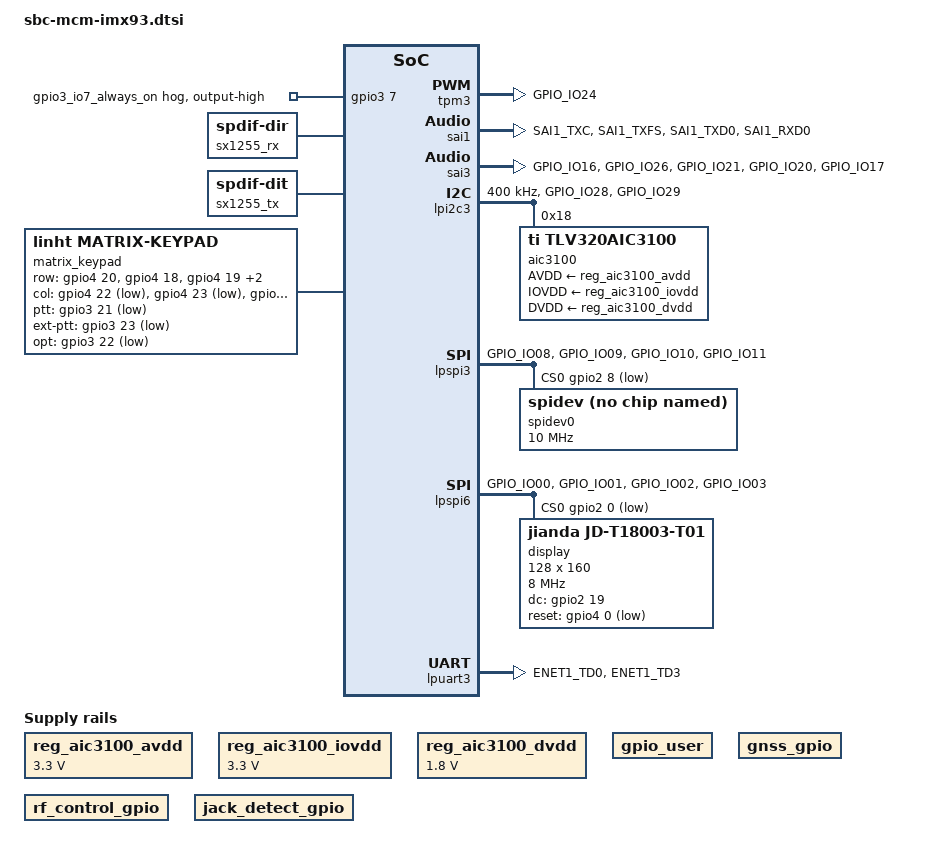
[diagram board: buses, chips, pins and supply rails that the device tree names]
&iomuxc {
	pinctrl_i2s0: sai1grp {
		fsl,pins = <
			MX93_PAD_SAI1_TXC__SAI1_TX_BCLK			0x31e
			MX93_PAD_SAI1_TXFS__SAI1_TX_SYNC		0x31e
			MX93_PAD_SAI1_TXD0__SAI1_TX_DATA00		0x31e
			MX93_PAD_SAI1_RXD0__SAI1_RX_DATA00		0x31e
		>;
	};
    pinctrl_i2s1: sai3grp {
		fsl,pins = <
			MX93_PAD_GPIO_IO16__SAI3_TX_BCLK		0x31e
			MX93_PAD_GPIO_IO26__SAI3_TX_SYNC		0x31e
			MX93_PAD_GPIO_IO21__SAI3_TX_DATA00		0x31e
			MX93_PAD_GPIO_IO20__SAI3_RX_DATA00		0x31e
            MX93_PAD_GPIO_IO17__SAI3_MCLK           0x31e
		>;
    };
    pinctrl_spi0: lpspi3grp {
		fsl,pins = <
			MX93_PAD_GPIO_IO08__GPIO2_IO08		0x3fe
			MX93_PAD_GPIO_IO09__LPSPI3_SIN		0x3fe
			MX93_PAD_GPIO_IO10__LPSPI3_SOUT		0x3fe
			MX93_PAD_GPIO_IO11__LPSPI3_SCK		0x3fe
		>;
	};
    pinctrl_spi1: lpspi6grp {
		fsl,pins = <
			MX93_PAD_GPIO_IO00__GPIO2_IO00		0x3fe
			MX93_PAD_GPIO_IO01__LPSPI6_SIN		0x3fe
			MX93_PAD_GPIO_IO02__LPSPI6_SOUT		0x3fe
			MX93_PAD_GPIO_IO03__LPSPI6_SCK		0x3fe
		>;
	};
    // Add I2C3 pin configuration
    pinctrl_lpi2c3: lpi2c3grp {
        fsl,pins = <
            MX93_PAD_GPIO_IO28__LPI2C3_SDA          0x40000bde
            MX93_PAD_GPIO_IO29__LPI2C3_SCL          0x40000bde
        >;
    };

    // GPIOS
    pinctrl_gpio_user: gpio_usergrp {
        fsl,pins = <
            MX93_PAD_SD2_DATA3__GPIO3_IO06      0x31e /* MIC_GAIN */
            MX93_PAD_SD2_DATA2__GPIO3_IO05      0x31e /* /MIC_MUTE */
            MX93_PAD_GPIO_IO04__GPIO2_IO04      0x31e /* 125 - LED 1 */
            MX93_PAD_GPIO_IO05__GPIO2_IO05      0x31e /* 125 - LED 2 */
            MX93_PAD_GPIO_IO22__GPIO2_IO22      0x31e /* RF_RST */
            MX93_PAD_GPIO_IO25__GPIO2_IO25      0x31e /* 95 - KBD_PWM */
            // Removed PTT and OPT pins from here
        >;
    };

    pinctrl_keypad_extras: gpio_kpdextragrp {
        fsl,pins = <
            MX93_PAD_SD3_DATA1__GPIO3_IO23      0x31e /* EXT_PTT */
            MX93_PAD_SD3_CMD__GPIO3_IO21        0x31e /* INT_PTT */
            MX93_PAD_SD3_DATA0__GPIO3_IO22      0x31e /* SIDE_BTN */
        >;
    };


    pinctrl_keypad_rows: gpio_kpdrowgrp {
        fsl,pins = <
            MX93_PAD_ENET2_TX_CTL__GPIO4_IO20   0x31e /* D4 - Row 0 */
            MX93_PAD_ENET2_TD1__GPIO4_IO18      0x31e /* D3 - Row 1 */
            MX93_PAD_ENET2_TD0__GPIO4_IO19      0x31e /* D2 - Row 2 */
            MX93_PAD_ENET2_TD3__GPIO4_IO16      0x31e /* D1 - Row 3 */
            MX93_PAD_ENET2_RD0__GPIO4_IO24      0x31e /* D9 - Row 4 */
        >;
    };

    pinctrl_keypad_cols: gpio_kpdcolgrp {
        fsl,pins = <
            MX93_PAD_ENET2_RX_CTL__GPIO4_IO22   0x31e /* D8 - Col 0 */
            MX93_PAD_ENET2_RXC__GPIO4_IO23      0x31e /* D7 - Col 1 */
            MX93_PAD_ENET2_TXC__GPIO4_IO21      0x31e /* D6 - Col 2 */
            MX93_PAD_ENET2_TD2__GPIO4_IO17      0x31e /* D5 - Col 3 */
        >;
    };

    // Pin config (if you want a dedicated group):
    pinctrl_flashlight: flashlightgrp {
        fsl,pins = <
            MX93_PAD_GPIO_IO18__GPIO2_IO18      0x184 /* 118 - FLASHLIGHT */
        >;
    };

    // PWM Pins
    pinctrl_tpm3: tpm3grp {
        fsl,pins = <
            MX93_PAD_GPIO_IO24__TPM3_CH3 0x31e /* LCD_PWM - Pin 99 */
        >;
    };

    // GNSS GPIOs (only RST, WAKEUP, PPS)
    pinctrl_gnss: gnssgrp {
        fsl,pins = <
            MX93_PAD_ENET1_TD2__GPIO4_IO03      0x31e /* Pin 83 - GNSS_RST */
            MX93_PAD_ENET1_TD3__GPIO4_IO02      0x31e /* Pin 85 - GNSS_WAKEUP */
            MX93_PAD_ENET1_RX_CTL__GPIO4_IO08   0x31e /* Pin 87 - GNSS_PPS */
        >;
    };

    // UART3 for GNSS (TX/RX)
    pinctrl_uart3: uart3grp {
        fsl,pins = <
            MX93_PAD_ENET1_TD0__GPIO4_IO05        0x31e /* Pin 84 - GNSS_TX */
            MX93_PAD_ENET1_TD3__GPIO4_IO02        0x31e /* Pin 88 - GNSS_RX */
        >;
    };

    // RF Control GPIOs
    pinctrl_rf_control: rf_controlgrp {
        fsl,pins = <
            MX93_PAD_GPIO_IO15__GPIO2_IO15      0x31e /* Pin 103 - RF_SW_CTRL */
            MX93_PAD_GPIO_IO13__GPIO2_IO13      0x31e /* Pin 104 - RF_ATT_LE2 */
            MX93_PAD_GPIO_IO12__GPIO2_IO12      0x31e /* Pin 105 - RF_ATT_LE1 */
            MX93_PAD_GPIO_IO07__GPIO2_IO07      0x31e /* Pin 106 - RF_ATT_CLK */
            MX93_PAD_GPIO_IO06__GPIO2_IO06      0x31e /* Pin 107 - RF_ATT_DATA */
            MX93_PAD_SD3_DATA3__GPIO3_IO25      0x31e /* Pin 111 - RF_PA_ENABLE */
        >;
    };

    // Jack Detection
    pinctrl_jack_detect: jack_detectgrp {
        fsl,pins = <
            MX93_PAD_ENET2_MDIO__GPIO4_IO15     0x31e /* Pin 49 - JACK_DETECT */
        >;
    };

    // 3.3V regulator
    pinctrl_gpio3_io7: gpio3io7grp {
        fsl,pins = <
            MX93_PAD_SD2_RESET_B__GPIO3_IO07    0x31e
        >;
    };
};

// Disable the sdcard power regulator so we can activate him from linux
&reg_usdhc2_vmmc {
    status = "disabled";
    gpio = <0>;
};

&usdhc2 {
    status = "disabled";
};

&usdhc3 {
    status = "disabled";
};

// 3.3V Regulator
&gpio3 {
    pinctrl-names = "default";
    pinctrl-0 = <&pinctrl_gpio3_io7>;
    
    gpio3_io7_hog {
        gpio-hog;
        gpios = <7 GPIO_ACTIVE_HIGH>;
        output-high;
        line-name = "gpio3_io7_always_on";
    };
};

// PWM
&tpm3 {
    pinctrl-names = "default";
    pinctrl-0 = <&pinctrl_tpm3>;
    status = "okay";
};

// I2S0 - SX1255
&sai1 {
	#sound-dai-cells = <0>;
	pinctrl-names = "default";
	pinctrl-0 = <&pinctrl_i2s0>;
	status = "okay";
};

// I2S1 - WM8960
&sai3 {
    #sound-dai-cells = <0>;
    pinctrl-names = "default";
    pinctrl-0 = <&pinctrl_i2s1>;
    assigned-clocks = <&clk IMX93_CLK_SAI3>;
    assigned-clock-parents = <&clk IMX93_CLK_AUDIO_PLL>;
    assigned-clock-rates = <12288000>;
    fsl,sai-mclk-direction-output;
    status = "okay";
};

// I2C - TLV320AIC3100
&lpi2c3 {
    #address-cells = <1>;
    #size-cells = <0>;
    clock-frequency = <400000>;
    pinctrl-names = "default", "sleep";
    pinctrl-0 = <&pinctrl_lpi2c3>;
    pinctrl-1 = <&pinctrl_lpi2c3>;
    status = "okay";

    aic3100: aic3100@18 {
        compatible = "ti,tlv320aic3100";
        reg = <0x18>;
        #sound-dai-cells = <0>;

        AVDD-supply = <&reg_aic3100_avdd>;
        IOVDD-supply = <&reg_aic3100_iovdd>;
        DVDD-supply = <&reg_aic3100_dvdd>;

        // Optional: if you use headphone/speaker supplies
        // HPVDD-supply = <&reg_aic3100_hpvdd>;
        // SPLVDD-supply = <&reg_aic3100_splvdd>;
        // SPRVDD-supply = <&reg_aic3100_sprvdd>;

        clocks = <&clk IMX93_CLK_SAI3>;
        clock-names = "mclk";
    };
};

// SPI0 - SX1255
&lpspi3 {
	fsl,spi-num-chipselects = <1>;
	pinctrl-names = "default", "sleep";
	pinctrl-0 = <&pinctrl_spi0>;
	pinctrl-1 = <&pinctrl_spi0>;
	cs-gpios = <&gpio2 8 GPIO_ACTIVE_LOW>;
	dmas = <&edma2 12 0 0>, <&edma2 13 0 1>;
	dma-names = "tx", "rx";
	status = "okay";

	spidev0: spi@0 {
		reg = <0>;
		compatible = "rohm,dh2228fv";
		spi-max-frequency = <10000000>;
	};
};

// SPI1 - st7735r
&lpspi6 {
    status = "okay";
    fsl,spi-num-chipselects = <1>;
    pinctrl-names = "default", "sleep";
    pinctrl-0 = <&pinctrl_spi1>;
    pinctrl-1 = <&pinctrl_spi1>;
    cs-gpios = <&gpio2 0 GPIO_ACTIVE_LOW>;
	dmas = <0>, <0>;
	dma-names = "tx", "rx";

    display@0 {
        compatible = "jianda,jd-t18003-t01", "sitronix,st7735r";
        reg = <0>;
        spi-max-frequency = <8000000>;
        dc-gpios = <&gpio2 19 GPIO_ACTIVE_HIGH>;
        reset-gpios = <&gpio4 0 GPIO_ACTIVE_LOW>;
        rotation = <270>;
        width = <128>;
        height = <160>;
    };
};

&lpspi1 {
    status = "disabled";
 };

// Enable UART3 for GNSS
&lpuart3 {
    pinctrl-names = "default";
    pinctrl-0 = <&pinctrl_uart3>;
    status = "okay";
};

// collides with SPI1
&lpuart5 {
	status = "disabled";
};

&lpi2c6 {
    status = "disabled";
};

&{/} {
    sound0: sound@0 {
        compatible = "simple-audio-card";
        simple-audio-card,name = "SX1255";
        #address-cells = <1>;
        #size-cells = <0>;
        status = "okay";

        /* RX (I/Q input from SX1255) */
        simple-audio-card,dai-link@0 {
            reg = <0>;
            format = "i2s";
            bitclock-master = <&sx1255_codec>;
            frame-master = <&sx1255_codec>;
            
            cpu {
                sound-dai = <&sai1>;
            };
            
            sx1255_codec: codec {
                sound-dai = <&sx1255_rx>;
            };
        };

        /* TX (I/Q output to SX1255) */
        simple-audio-card,dai-link@1 {
            reg = <1>;
            format = "i2s";
            bitclock-master = <&sx1255_tx_codec>;
            frame-master = <&sx1255_tx_codec>;
            
            cpu {
                sound-dai = <&sai1>;
            };
            
            sx1255_tx_codec: codec {
                sound-dai = <&sx1255_tx>;
            };
        };
    };

    /* SX1255 I/Q receive codec */
    sx1255_rx: sx1255-rx {
        compatible = "linux,spdif-dir";
        #sound-dai-cells = <0>;
        status = "okay";
    };

    /* SX1255 I/Q transmit codec */
    sx1255_tx: sx1255-tx {
        compatible = "linux,spdif-dit";
        #sound-dai-cells = <0>;
        status = "okay";
    };

    // TLV320AIC3100 Regulators
    reg_aic3100_avdd: regulator-aic3100-avdd {
        compatible = "regulator-fixed";
        regulator-name = "AIC3100_AVDD";
        regulator-min-microvolt = <3300000>;
        regulator-max-microvolt = <3300000>;
        regulator-always-on;
    };

    reg_aic3100_iovdd: regulator-aic3100-iovdd {
        compatible = "regulator-fixed";
        regulator-name = "AIC3100_IOVDD";
        regulator-min-microvolt = <3300000>;
        regulator-max-microvolt = <3300000>;
        regulator-always-on;
    };

    reg_aic3100_dvdd: regulator-aic3100-dvdd {
        compatible = "regulator-fixed";
        regulator-name = "AIC3100_DVDD";
        regulator-min-microvolt = <1800000>;
        regulator-max-microvolt = <1800000>;
        regulator-always-on;
    };

    sound1: sound@1 {
        compatible = "simple-audio-card";
        simple-audio-card,name = "tlv320aic3100-audio";
        simple-audio-card,format = "i2s";

        simple-audio-card,widgets =
            "Headphone", "Headphone Jack",
            "Speaker", "Speaker",
            "Microphone", "Mic Jack";

        simple-audio-card,routing =
            "Headphone Jack", "HPOUTL",
            "Headphone Jack", "HPOUTR",
            "Speaker", "LOUTL",
            "Speaker", "LOUTR",
            "Mic Jack", "MIC3L",
            "MIC3L", "Mic Bias";

        simple-audio-card,cpu {
            sound-dai = <&sai3>;
        };

        simple-audio-card,codec {
            sound-dai = <&aic3100>;
        };
    };

    gpio_user: gpio_user {
        compatible = "regulator-fixed";
        pinctrl-names = "default";
        pinctrl-0 = <&pinctrl_gpio_user>;
        regulator-name = "BOARD_GPIO_CONFIG";
        status = "okay";
    };

    // GNSS GPIO controller
    gnss_gpio: gnss-gpio {
        compatible = "regulator-fixed";
        pinctrl-names = "default";
        pinctrl-0 = <&pinctrl_gnss>;
        regulator-name = "GNSS_GPIO_CONFIG";
        status = "okay";
    };

    // RF Control GPIO controller
    rf_control_gpio: rf-control-gpio {
        compatible = "regulator-fixed";
        pinctrl-names = "default";
        pinctrl-0 = <&pinctrl_rf_control>;
        regulator-name = "RF_CONTROL_GPIO_CONFIG";
        status = "okay";
    };

    // Jack Detection GPIO
    jack_detect_gpio: jack-detect-gpio {
        compatible = "regulator-fixed";
        pinctrl-names = "default";
        pinctrl-0 = <&pinctrl_jack_detect>;
        regulator-name = "JACK_DETECT_GPIO_CONFIG";
        status = "okay";
    };

    matrix_keypad: matrix_keypad {
        compatible = "linht,matrix-keypad";
        pinctrl-names = "default";
        pinctrl-0 = <&pinctrl_keypad_rows>, <&pinctrl_keypad_cols>, <&pinctrl_keypad_extras>;

        // GPIOs for the 5 rows, configured as outputs
        row-gpios = <&gpio4 20 GPIO_ACTIVE_HIGH>,  /* D4 */
                    <&gpio4 18 GPIO_ACTIVE_HIGH>,  /* D3 */
                    <&gpio4 19 GPIO_ACTIVE_HIGH>,  /* D2 */
                    <&gpio4 16 GPIO_ACTIVE_HIGH>,  /* D1 */
                    <&gpio4 24 GPIO_ACTIVE_HIGH>;  /* D9 */

        // GPIOs for the 4 columns, configured as inputs
        col-gpios = <&gpio4 22 GPIO_ACTIVE_LOW>,   /* D8 */
                    <&gpio4 23 GPIO_ACTIVE_LOW>,   /* D7 */
                    <&gpio4 21 GPIO_ACTIVE_LOW>,   /* D6 */
                    <&gpio4 17 GPIO_ACTIVE_LOW>;   /* D5 */

        // Optional discrete buttons (replace with your actual GPIO assignments)
        ptt-gpios = <&gpio3 21 GPIO_ACTIVE_LOW>;   /* PTT button */
        ext-ptt-gpios = <&gpio3 23 GPIO_ACTIVE_LOW>;  /* External PTT input */
        opt-gpios = <&gpio3 22 GPIO_ACTIVE_LOW>;   /* SIDE BTN aka OPT button */
    };

};

